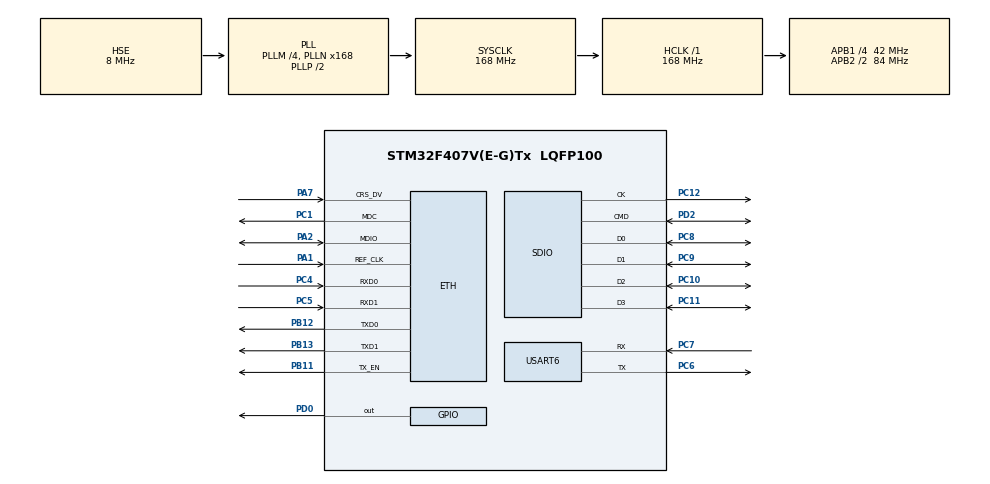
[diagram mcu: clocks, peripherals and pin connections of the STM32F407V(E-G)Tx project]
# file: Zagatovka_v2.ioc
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Dma.Request0=SDIO_RX
Dma.Request1=SDIO_TX
Dma.SDIO_RX.0.Direction=DMA_PERIPH_TO_MEMORY
Dma.SDIO_RX.0.FIFOMode=DMA_FIFOMODE_ENABLE
Dma.SDIO_RX.0.FIFOThreshold=DMA_FIFO_THRESHOLD_FULL
Dma.SDIO_RX.0.Instance=DMA2_Stream3
Dma.SDIO_RX.0.MemBurst=DMA_MBURST_INC4
Dma.SDIO_RX.0.MemDataAlignment=DMA_MDATAALIGN_WORD
Dma.SDIO_RX.0.MemInc=DMA_MINC_ENABLE
Dma.SDIO_RX.0.Mode=DMA_PFCTRL
Dma.SDIO_RX.0.PeriphBurst=DMA_PBURST_INC4
Dma.SDIO_RX.0.PeriphDataAlignment=DMA_PDATAALIGN_WORD
Dma.SDIO_RX.0.PeriphInc=DMA_PINC_DISABLE
Dma.SDIO_RX.0.Priority=DMA_PRIORITY_LOW
Dma.SDIO_TX.1.Direction=DMA_MEMORY_TO_PERIPH
Dma.SDIO_TX.1.FIFOMode=DMA_FIFOMODE_ENABLE
Dma.SDIO_TX.1.FIFOThreshold=DMA_FIFO_THRESHOLD_FULL
Dma.SDIO_TX.1.Instance=DMA2_Stream6
Dma.SDIO_TX.1.MemBurst=DMA_MBURST_INC4
Dma.SDIO_TX.1.MemDataAlignment=DMA_MDATAALIGN_WORD
Dma.SDIO_TX.1.MemInc=DMA_MINC_ENABLE
Dma.SDIO_TX.1.Mode=DMA_PFCTRL
Dma.SDIO_TX.1.PeriphBurst=DMA_PBURST_INC4
Dma.SDIO_TX.1.PeriphDataAlignment=DMA_PDATAALIGN_WORD
Dma.SDIO_TX.1.PeriphInc=DMA_PINC_DISABLE
Dma.SDIO_TX.1.Priority=DMA_PRIORITY_LOW
ETH.MediaInterface=ETH_MEDIA_INTERFACE_RMII
FATFS._MAX_SS=4096
FREERTOS.Tasks01=defaultTask,24,200,StartDefaultTask,Default,NULL,Static,defaultTaskBuffer,defaultTaskControlBlock;my_SDIO_Task,40,200,Start_SDIO_Task,Default,NULL,Static,my_SDIO_TaskBuffer,my_SDIO_TaskControlBlock;my_Blink_Task,24,128,Start_Blink_Task,Default,NULL,Static,my_Blink_TaskBuffer,my_Blink_TaskControlBlock
FREERTOS.configTOTAL_HEAP_SIZE=30000
FREERTOS.configUSE_NEWLIB_REENTRANT=1
LWIP.DEFAULT_THREAD_STACKSIZE=3072
LWIP.GATEWAY_ADDRESS=192.168.018.001
LWIP.IP_ADDRESS=192.168.018.111
LWIP.LWIP_DHCP=0
LWIP.MEMP_NUM_TCP_SEG=24
LWIP.NETMASK_ADDRESS=255.255.255.000
LWIP.TCPIP_THREAD_STACKSIZE=1200
LWIP.TCP_MSS=1000
LWIP.TCP_SND_BUF=2048
LWIP.Version=v2.1.2_Cube
Mcu.Family=STM32F4
Mcu.Name=STM32F407V(E-G)Tx
Mcu.Package=LQFP100
NVIC.DMA2_Stream3_IRQn=true\:5\:0\:false\:false\:true\:true\:false\:true
NVIC.DMA2_Stream6_IRQn=true\:5\:0\:false\:false\:true\:true\:false\:true
NVIC.ETH_IRQn=true\:5\:0\:false\:false\:true\:true\:false\:true
NVIC.PriorityGroup=NVIC_PRIORITYGROUP_4
NVIC.SDIO_IRQn=true\:5\:0\:false\:false\:true\:true\:true\:true
NVIC.TIM1_UP_TIM10_IRQn=true\:15\:0\:false\:false\:true\:false\:false\:true
NVIC.TimeBase=TIM1_UP_TIM10_IRQn
NVIC.TimeBaseIP=TIM1
PA1.Mode=RMII
PA1.Signal=ETH_REF_CLK
PA13.Mode=Serial_Wire
PA13.Signal=SYS_JTMS-SWDIO
PA14.Mode=Serial_Wire
PA14.Signal=SYS_JTCK-SWCLK
PA2.Mode=RMII
PA2.Signal=ETH_MDIO
PA7.Mode=RMII
PA7.Signal=ETH_CRS_DV
PB11.Mode=RMII
PB11.Signal=ETH_TX_EN
PB12.Mode=RMII
PB12.Signal=ETH_TXD0
PB13.Mode=RMII
PB13.Signal=ETH_TXD1
PC1.Mode=RMII
PC1.Signal=ETH_MDC
PC10.GPIO_PuPd=GPIO_PULLUP
PC10.Mode=SD_4_bits_Wide_bus
PC10.Signal=SDIO_D2
PC11.GPIO_PuPd=GPIO_PULLUP
PC11.Mode=SD_4_bits_Wide_bus
PC11.Signal=SDIO_D3
PC12.Mode=SD_4_bits_Wide_bus
PC12.Signal=SDIO_CK
PC4.Mode=RMII
PC4.Signal=ETH_RXD0
PC5.Mode=RMII
PC5.Signal=ETH_RXD1
PC6.Mode=Asynchronous
PC6.Signal=USART6_TX
PC7.Mode=Asynchronous
PC7.Signal=USART6_RX
PC8.GPIO_PuPd=GPIO_PULLUP
PC8.Mode=SD_4_bits_Wide_bus
PC8.Signal=SDIO_D0
PC9.GPIO_PuPd=GPIO_PULLUP
PC9.Mode=SD_4_bits_Wide_bus
PC9.Signal=SDIO_D1
PD0.Signal=GPIO_Output
PD2.GPIO_PuPd=GPIO_PULLUP
PD2.Mode=SD_4_bits_Wide_bus
PD2.Signal=SDIO_CMD
PH0-OSC_IN.Mode=HSE-External-Oscillator
PH0-OSC_IN.Signal=RCC_OSC_IN
PH1-OSC_OUT.Mode=HSE-External-Oscillator
PH1-OSC_OUT.Signal=RCC_OSC_OUT
ProjectManager.HeapSize=0x200
ProjectManager.StackSize=0x400
ProjectManager.TargetToolchain=STM32CubeIDE
RCC.48MHZClocksFreq_Value=48000000
RCC.AHBFreq_Value=168000000
RCC.APB1CLKDivider=RCC_HCLK_DIV4
RCC.APB1Freq_Value=42000000
RCC.APB1TimFreq_Value=84000000
RCC.APB2CLKDivider=RCC_HCLK_DIV2
RCC.APB2Freq_Value=84000000
RCC.APB2TimFreq_Value=168000000
RCC.CortexFreq_Value=168000000
RCC.HCLKFreq_Value=168000000
RCC.HSE_VALUE=8000000
RCC.HSI_VALUE=16000000
RCC.LSE_VALUE=32768
RCC.PLLM=4
RCC.PLLN=168
RCC.PLLQ=7
RCC.PLLSourceVirtual=RCC_PLLSOURCE_HSE
RCC.SYSCLKFreq_VALUE=168000000
RCC.SYSCLKSource=RCC_SYSCLKSOURCE_PLLCLK
RCC.VCOOutputFreq_Value=336000000
SDIO.ClockDiv=5
USART6.VirtualMode=VM_ASYNC
VP_FATFS_VS_SDIO.Mode=SDIO
VP_FREERTOS_VS_CMSIS_V2.Mode=CMSIS_V2
VP_LWIP_VS_Enabled.Mode=Enabled
VP_SYS_VS_tim1.Mode=TIM1
board=custom

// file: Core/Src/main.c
/* USER CODE BEGIN Header */
/**
 ******************************************************************************
 * @file           : main.c
 * @brief          : Main program body
 ******************************************************************************
 * @attention
 *
 * Copyright (c) 2022 STMicroelectronics.
 * All rights reserved.
 *
 * This software is licensed under terms that can be found in the LICENSE file
 * in the root directory of this software component.
 * If no LICENSE file comes with this software, it is provided AS-IS.
 *
 ******************************************************************************
 */
/* USER CODE END Header */
#include "main.h"
#include "cmsis_os.h"
#include "fatfs.h"
#include "lwip.h"

/* USER CODE BEGIN Includes */
#include <stdio.h>/* для printf */
#include <string.h>
#include <zagotovka_sdio.h>
#include <zagotovka_netconn.h>
/* USER CODE END Includes */

typedef StaticTask_t osStaticThreadDef_t;

SD_HandleTypeDef hsd;
DMA_HandleTypeDef hdma_sdio_rx;
DMA_HandleTypeDef hdma_sdio_tx;

UART_HandleTypeDef huart6;

/* Definitions for defaultTask */
osThreadId_t defaultTaskHandle;
uint32_t defaultTaskBuffer[ 200 ];
osStaticThreadDef_t defaultTaskControlBlock;
const osThreadAttr_t defaultTask_attributes = {
  .name = "defaultTask",
  .cb_mem = &defaultTaskControlBlock,
  .cb_size = sizeof(defaultTaskControlBlock),
  .stack_mem = &defaultTaskBuffer[0],
  .stack_size = sizeof(defaultTaskBuffer),
  .priority = (osPriority_t) osPriorityNormal,
};
/* Definitions for my_SDIO_Task */
osThreadId_t my_SDIO_TaskHandle;
uint32_t my_SDIO_TaskBuffer[ 200 ];
osStaticThreadDef_t my_SDIO_TaskControlBlock;
const osThreadAttr_t my_SDIO_Task_attributes = {
  .name = "my_SDIO_Task",
  .cb_mem = &my_SDIO_TaskControlBlock,
  .cb_size = sizeof(my_SDIO_TaskControlBlock),
  .stack_mem = &my_SDIO_TaskBuffer[0],
  .stack_size = sizeof(my_SDIO_TaskBuffer),
  .priority = (osPriority_t) osPriorityHigh,
};
/* Definitions for my_Blink_Task */
osThreadId_t my_Blink_TaskHandle;
uint32_t my_Blink_TaskBuffer[ 128 ];
osStaticThreadDef_t my_Blink_TaskControlBlock;
const osThreadAttr_t my_Blink_Task_attributes = {
  .name = "my_Blink_Task",
  .cb_mem = &my_Blink_TaskControlBlock,
  .cb_size = sizeof(my_Blink_TaskControlBlock),
  .stack_mem = &my_Blink_TaskBuffer[0],
  .stack_size = sizeof(my_Blink_TaskBuffer),
  .priority = (osPriority_t) osPriorityNormal,
};

void SystemClock_Config(void);
static void MX_GPIO_Init(void);
static void MX_DMA_Init(void);
static void MX_SDIO_SD_Init(void);
static void MX_USART6_UART_Init(void);
void StartDefaultTask(void *argument);
void Start_SDIO_Task(void *argument);
void Start_Blink_Task(void *argument);

/* USER CODE BEGIN PFP */
int _write(int file, char *ptr, int len) {
	int i;
	HAL_UART_Transmit(&huart6, (uint8_t*) ptr, len, 50);
	for (i = 0; i < len; i++) {
		ITM_SendChar(*ptr++);
	}
	return len;
}
/* USER CODE END PFP */

/* USER CODE BEGIN 0 */
extern struct netif gnetif;
/* USER CODE END 0 */

int main(void)
{

  /* MCU Configuration--------------------------------------------------------*/

  /* Reset of all peripherals, Initializes the Flash interface and the Systick. */
  HAL_Init();

  /* Configure the system clock */
  SystemClock_Config();

  /* Initialize all configured peripherals */
  MX_GPIO_Init();
  MX_DMA_Init();
  MX_SDIO_SD_Init();
  MX_USART6_UART_Init();
  MX_FATFS_Init();

  /* Init scheduler */
  osKernelInitialize();

  /* Create the thread(s) */
  /* creation of defaultTask */
  defaultTaskHandle = osThreadNew(StartDefaultTask, NULL, &defaultTask_attributes);

  /* creation of my_SDIO_Task */
  my_SDIO_TaskHandle = osThreadNew(Start_SDIO_Task, NULL, &my_SDIO_Task_attributes);

  /* creation of my_Blink_Task */
  my_Blink_TaskHandle = osThreadNew(Start_Blink_Task, NULL, &my_Blink_Task_attributes);

  /* Start scheduler */
  osKernelStart();

  /* We should never get here as control is now taken by the scheduler */
  /* Infinite loop */
	while (1) {

	}
}

void SystemClock_Config(void)
{
  RCC_OscInitTypeDef RCC_OscInitStruct = {0};
  RCC_ClkInitTypeDef RCC_ClkInitStruct = {0};

  /** Configure the main internal regulator output voltage
  */
  __HAL_RCC_PWR_CLK_ENABLE();
  __HAL_PWR_VOLTAGESCALING_CONFIG(PWR_REGULATOR_VOLTAGE_SCALE1);
  /** Initializes the RCC Oscillators according to the specified parameters
  * in the RCC_OscInitTypeDef structure.
  */
  RCC_OscInitStruct.OscillatorType = RCC_OSCILLATORTYPE_HSE;
  RCC_OscInitStruct.HSEState = RCC_HSE_ON;
  RCC_OscInitStruct.PLL.PLLState = RCC_PLL_ON;
  RCC_OscInitStruct.PLL.PLLSource = RCC_PLLSOURCE_HSE;
  RCC_OscInitStruct.PLL.PLLM = 4;
  RCC_OscInitStruct.PLL.PLLN = 168;
  RCC_OscInitStruct.PLL.PLLP = RCC_PLLP_DIV2;
  RCC_OscInitStruct.PLL.PLLQ = 7;
  if (HAL_RCC_OscConfig(&RCC_OscInitStruct) != HAL_OK)
  {
    Error_Handler();
  }
  /** Initializes the CPU, AHB and APB buses clocks
  */
  RCC_ClkInitStruct.ClockType = RCC_CLOCKTYPE_HCLK|RCC_CLOCKTYPE_SYSCLK
                              |RCC_CLOCKTYPE_PCLK1|RCC_CLOCKTYPE_PCLK2;
  RCC_ClkInitStruct.SYSCLKSource = RCC_SYSCLKSOURCE_PLLCLK;
  RCC_ClkInitStruct.AHBCLKDivider = RCC_SYSCLK_DIV1;
  RCC_ClkInitStruct.APB1CLKDivider = RCC_HCLK_DIV4;
  RCC_ClkInitStruct.APB2CLKDivider = RCC_HCLK_DIV2;

  if (HAL_RCC_ClockConfig(&RCC_ClkInitStruct, FLASH_LATENCY_5) != HAL_OK)
  {
    Error_Handler();
  }
}

static void MX_SDIO_SD_Init(void)
{

  hsd.Instance = SDIO;
  hsd.Init.ClockEdge = SDIO_CLOCK_EDGE_RISING;
  hsd.Init.ClockBypass = SDIO_CLOCK_BYPASS_DISABLE;
  hsd.Init.ClockPowerSave = SDIO_CLOCK_POWER_SAVE_DISABLE;
  hsd.Init.BusWide = SDIO_BUS_WIDE_1B;
  hsd.Init.HardwareFlowControl = SDIO_HARDWARE_FLOW_CONTROL_DISABLE;
  hsd.Init.ClockDiv = 5;

}

static void MX_USART6_UART_Init(void)
{

  huart6.Instance = USART6;
  huart6.Init.BaudRate = 115200;
  huart6.Init.WordLength = UART_WORDLENGTH_8B;
  huart6.Init.StopBits = UART_STOPBITS_1;
  huart6.Init.Parity = UART_PARITY_NONE;
  huart6.Init.Mode = UART_MODE_TX_RX;
  huart6.Init.HwFlowCtl = UART_HWCONTROL_NONE;
  huart6.Init.OverSampling = UART_OVERSAMPLING_16;
  if (HAL_UART_Init(&huart6) != HAL_OK)
  {
    Error_Handler();
  }

}

static void MX_DMA_Init(void)
{

  /* DMA controller clock enable */
  __HAL_RCC_DMA2_CLK_ENABLE();

  /* DMA interrupt init */
  /* DMA2_Stream3_IRQn interrupt configuration */
  HAL_NVIC_SetPriority(DMA2_Stream3_IRQn, 5, 0);
  HAL_NVIC_EnableIRQ(DMA2_Stream3_IRQn);
  /* DMA2_Stream6_IRQn interrupt configuration */
  HAL_NVIC_SetPriority(DMA2_Stream6_IRQn, 5, 0);
  HAL_NVIC_EnableIRQ(DMA2_Stream6_IRQn);

}

static void MX_GPIO_Init(void)
{
  GPIO_InitTypeDef GPIO_InitStruct = {0};

  /* GPIO Ports Clock Enable */
  __HAL_RCC_GPIOH_CLK_ENABLE();
  __HAL_RCC_GPIOC_CLK_ENABLE();
  __HAL_RCC_GPIOA_CLK_ENABLE();
  __HAL_RCC_GPIOB_CLK_ENABLE();
  __HAL_RCC_GPIOD_CLK_ENABLE();

  /*Configure GPIO pin Output Level */
  HAL_GPIO_WritePin(GPIOD, GPIO_PIN_0, GPIO_PIN_RESET);

  /*Configure GPIO pin : PD0 */
  GPIO_InitStruct.Pin = GPIO_PIN_0;
  GPIO_InitStruct.Mode = GPIO_MODE_OUTPUT_PP;
  GPIO_InitStruct.Pull = GPIO_NOPULL;
  GPIO_InitStruct.Speed = GPIO_SPEED_FREQ_LOW;
  HAL_GPIO_Init(GPIOD, &GPIO_InitStruct);

}

void StartDefaultTask(void *argument)
{
  /* init code for LWIP */
  MX_LWIP_Init();
  /* USER CODE BEGIN 5 */
	zagotovka_netconn_init();
	/* Infinite loop */
	for (;;) {
		osDelay(1);
	}
  /* USER CODE END 5 */
}

void Start_SDIO_Task(void *argument)
{
  /* USER CODE BEGIN Start_SDIO_Task */
	  /* USER CODE BEGIN 5 */
		//  zerg_mount();
		//  zerg_format();
		//  zerg_open();
		//  zerg_write();
		zerg_get_data_from_sd();
		//  zerg_get_free_space();    // Узнаем свободное место после удаления
		//  zerg_get_file_info(name_sd);
	/* Infinite loop */
	for (;;) {
		osDelay(1);
	}
  /* USER CODE END Start_SDIO_Task */
}

void Start_Blink_Task(void *argument)
{
  /* USER CODE BEGIN Start_Blink_Task */
	/* Infinite loop */
	for (;;) {
		HAL_GPIO_TogglePin(GPIOD, GPIO_PIN_0);
		osDelay(250);
	}
  /* USER CODE END Start_Blink_Task */
}

void HAL_TIM_PeriodElapsedCallback(TIM_HandleTypeDef *htim)
{
  if (htim->Instance == TIM1) {
    HAL_IncTick();
  }
}

void Error_Handler(void)
{
	__disable_irq();
	while (1) {
	}
}
